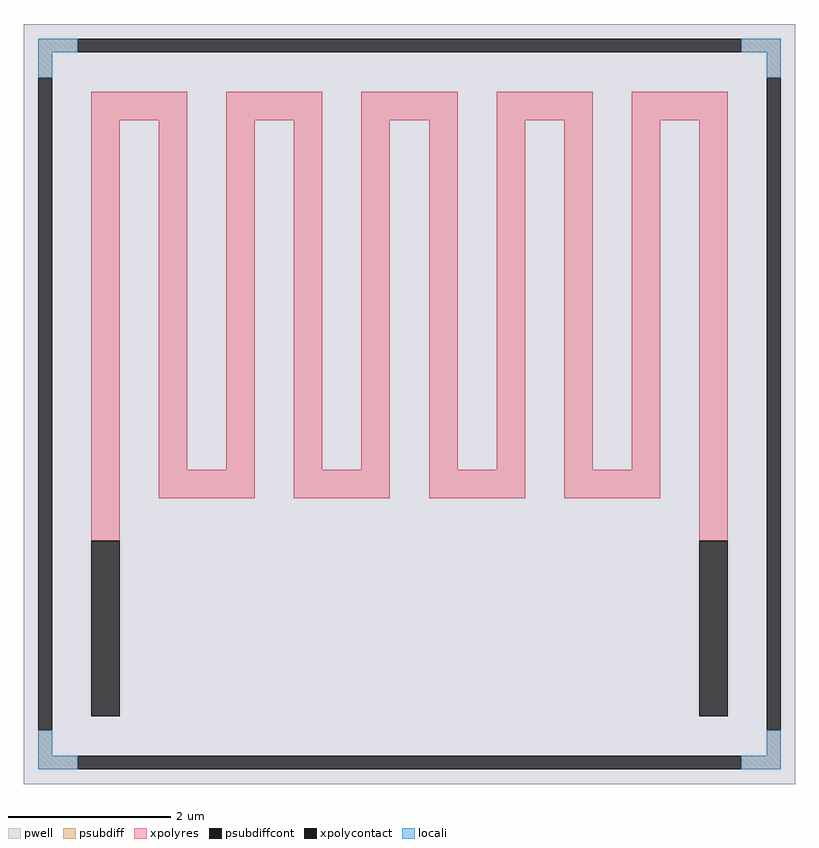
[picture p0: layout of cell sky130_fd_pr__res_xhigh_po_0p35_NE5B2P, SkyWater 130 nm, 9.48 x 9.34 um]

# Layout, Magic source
magic
tech sky130A
<< pwell >>
rect -474 -467 474 467
<< psubdiff >>
rect -456 432 -408 449
rect 408 432 456 449
rect -456 401 -439 432
rect 439 401 456 432
rect -456 -432 -439 -401
rect 439 -432 456 -401
rect -456 -449 -408 -432
rect 408 -449 456 -432
<< psubdiffcont >>
rect -408 432 408 449
rect -456 -401 -439 401
rect 439 -401 456 401
rect -408 -449 408 -432
<< xpolycontact >>
rect -391 -384 -356 -168
rect 356 -384 391 -168
<< xpolyres >>
rect -391 349 -273 384
rect -391 -168 -356 349
rect -308 -81 -273 349
rect -225 349 -107 384
rect -225 -81 -190 349
rect -308 -116 -190 -81
rect -142 -81 -107 349
rect -59 349 59 384
rect -59 -81 -24 349
rect -142 -116 -24 -81
rect 24 -81 59 349
rect 107 349 225 384
rect 107 -81 142 349
rect 24 -116 142 -81
rect 190 -81 225 349
rect 273 349 391 384
rect 273 -81 308 349
rect 190 -116 308 -81
rect 356 -168 391 349
<< locali >>
rect -456 432 -408 449
rect 408 432 456 449
rect -456 401 -439 432
rect 439 401 456 432
rect -456 -432 -439 -401
rect 439 -432 456 -401
rect -456 -449 -408 -432
rect 408 -449 456 -432
<< properties >>
string FIXED_BBOX -447 -440 447 440
string gencell sky130_fd_pr__res_xhigh_po_0p35
string library sky130
string parameters w 0.35 l 5 m 1 nx 10 wmin 0.350 lmin 0.50 rho 2000 val 304.789k dummy 0 dw 0.0 term 188.2 sterm 0.0 caplen 0 wmax 0.350 guard 1 glc 1 grc 1 gtc 1 gbc 1 compatible {sky130_fd_pr__res_xhigh_po_0p35  sky130_fd_pr__res_xhigh_po_0p69 sky130_fd_pr__res_xhigh_po_1p41  sky130_fd_pr__res_xhigh_po_2p85 sky130_fd_pr__res_xhigh_po_5p73} snake 1 full_metal 1 n_guard 0 hv_guard 0 vias 1 viagb 0 viagt 0 viagl 0 viagr 0
<< end >>
